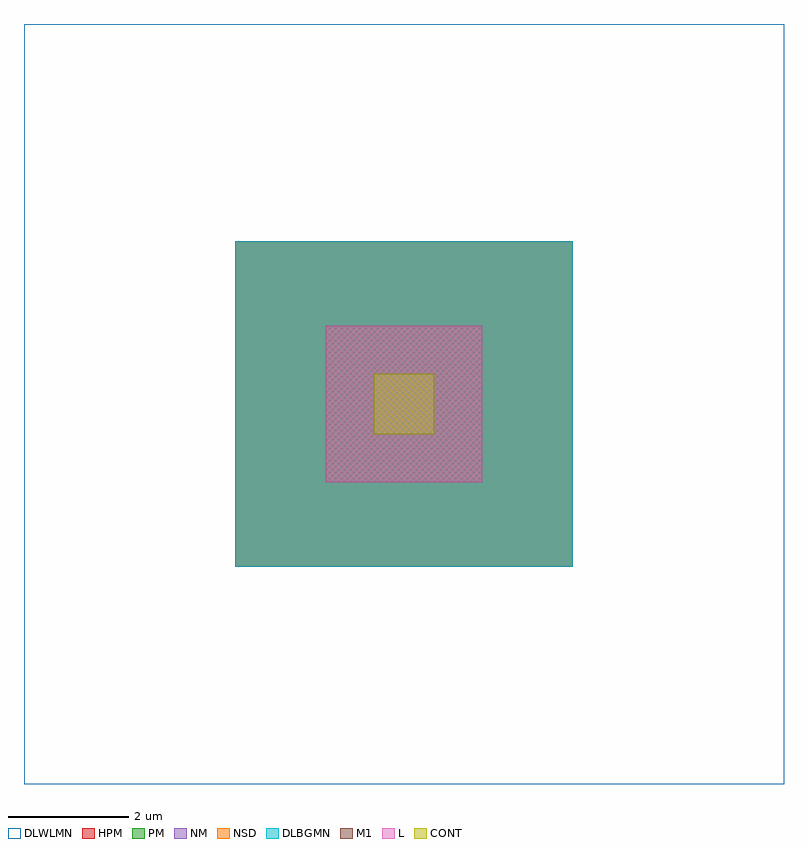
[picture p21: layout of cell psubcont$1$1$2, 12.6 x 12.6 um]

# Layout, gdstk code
import gdstk
lib = gdstk.Library(unit=1e-6, precision=1e-09)
def R(c, l, rs):  # rectangles x0, y0, x1, y1
    for r in rs: c.add(gdstk.rectangle(r[:2], r[2:], *l))
L = (3, 0)
NM = (7, 0)
CONT = (11, 0)
M1 = (13, 0)
NSD = (28, 0)
HPM = (33, 0)
PM = (35, 0)
DLWLMN = (151, 0)
DLBGMN = (178, 0)

dcont_1_1_3 = lib.new_cell('DCONT$1$1$3')
R(dcont_1_1_3, L, [(-1.3,-1.3,1.3,1.3)])
R(dcont_1_1_3, CONT, [(-0.5,-0.5,0.5,0.5)])
R(dcont_1_1_3, M1, [(-1.3,-1.3,1.3,1.3), (-0.5,-0.5,0.5,0.5)])

psubcont_1_1_2 = lib.new_cell('psubcont$1$1$2')
R(psubcont_1_1_2, NM, [(-2.8,-2.7,2.8,2.7)])
R(psubcont_1_1_2, NSD, [(-2.8,-2.7,2.8,2.7)])
R(psubcont_1_1_2, HPM, [(-2.8,-2.7,2.8,2.7)])
R(psubcont_1_1_2, PM, [(-2.8,-2.7,2.8,2.7)])
R(psubcont_1_1_2, DLWLMN, [(-6.3,-6.3,6.3,6.3)])
R(psubcont_1_1_2, DLBGMN, [(-2.8,-2.7,2.8,2.7)])
psubcont_1_1_2.add(gdstk.Reference(dcont_1_1_3, (0,0)))

lib.write_gds('psubcont_1_1_2.gds')
